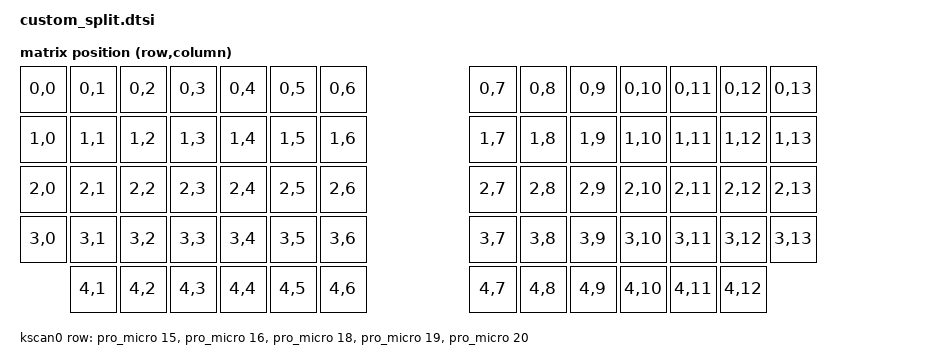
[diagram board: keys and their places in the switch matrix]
/*
 * Copyright (c) 2023 Custom Split
 *
 * SPDX-License-Identifier: MIT
 */

#include <dt-bindings/zmk/matrix_transform.h>

/ {
    chosen {
        zmk,kscan = &kscan0;
        zmk,matrix_transform = &default_transform;
    };

    default_transform: keymap_transform_0 {
        compatible = "zmk,matrix-transform";
        columns = <14>;
        rows = <5>;
        
        // Matrix layout for Ergogen design with available pins - 7 cols x 5 rows
        map = <
RC(0,0) RC(0,1) RC(0,2) RC(0,3) RC(0,4) RC(0,5) RC(0,6)                 RC(0,7) RC(0,8) RC(0,9) RC(0,10) RC(0,11) RC(0,12) RC(0,13)
RC(1,0) RC(1,1) RC(1,2) RC(1,3) RC(1,4) RC(1,5) RC(1,6)                 RC(1,7) RC(1,8) RC(1,9) RC(1,10) RC(1,11) RC(1,12) RC(1,13)
RC(2,0) RC(2,1) RC(2,2) RC(2,3) RC(2,4) RC(2,5) RC(2,6)                 RC(2,7) RC(2,8) RC(2,9) RC(2,10) RC(2,11) RC(2,12) RC(2,13)
RC(3,0) RC(3,1) RC(3,2) RC(3,3) RC(3,4) RC(3,5) RC(3,6)                 RC(3,7) RC(3,8) RC(3,9) RC(3,10) RC(3,11) RC(3,12) RC(3,13)
        RC(4,1) RC(4,2) RC(4,3) RC(4,4) RC(4,5) RC(4,6)                 RC(4,7) RC(4,8) RC(4,9) RC(4,10) RC(4,11) RC(4,12)
        >;
    };

    kscan0: kscan {
        compatible = "zmk,kscan-gpio-matrix";
        label = "KSCAN";
        wakeup-source;

        diode-direction = "col2row";
        
        // Row pins - FIXED ORDER based on actual physical layout
        // Swapped top/bottom rows to fix R/V key placement
        row-gpios
            = <&pro_micro 15 (GPIO_ACTIVE_HIGH | GPIO_PULL_DOWN)>  // P15: "row_numbers" (top physical row)
            , <&pro_micro 16 (GPIO_ACTIVE_HIGH | GPIO_PULL_DOWN)>  // P16: "row_bottom" (QWERTY row)
            , <&pro_micro 18 (GPIO_ACTIVE_HIGH | GPIO_PULL_DOWN)>  // P18: "row_home" (ASDF row)  
            , <&pro_micro 19 (GPIO_ACTIVE_HIGH | GPIO_PULL_DOWN)>  // P19: "row_top" (ZXCV row)
            , <&pro_micro 20 (GPIO_ACTIVE_HIGH | GPIO_PULL_DOWN)>  // P102: "extra_row" (thumb/bottom row)
            ;
    };
};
